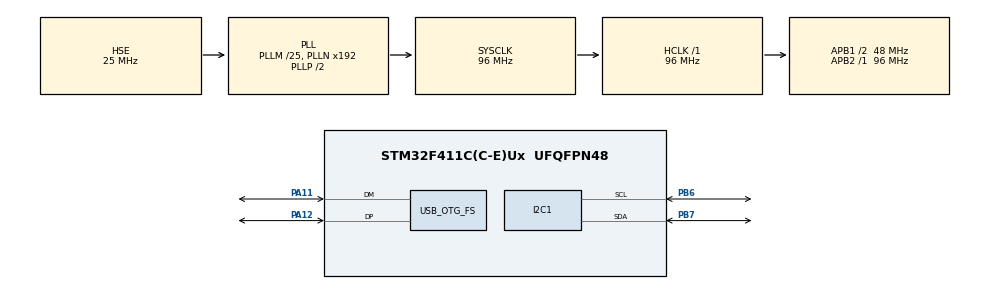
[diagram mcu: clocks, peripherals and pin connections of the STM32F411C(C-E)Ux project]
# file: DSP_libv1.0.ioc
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Mcu.Family=STM32F4
Mcu.Name=STM32F411C(C-E)Ux
Mcu.Package=UFQFPN48
NVIC.I2C1_ER_IRQn=true\:0\:0\:false\:false\:true\:true\:true\:true
NVIC.I2C1_EV_IRQn=true\:0\:0\:false\:false\:true\:true\:true\:true
NVIC.OTG_FS_IRQn=true\:0\:0\:false\:false\:true\:false\:true\:true
NVIC.PriorityGroup=NVIC_PRIORITYGROUP_4
PA11.Mode=Device_Only
PA11.Signal=USB_OTG_FS_DM
PA12.Mode=Device_Only
PA12.Signal=USB_OTG_FS_DP
PB6.Mode=I2C
PB6.Signal=I2C1_SCL
PB7.Mode=I2C
PB7.Signal=I2C1_SDA
PH0\ -\ OSC_IN.Mode=HSE-External-Oscillator
PH0\ -\ OSC_IN.Signal=RCC_OSC_IN
PH1\ -\ OSC_OUT.Mode=HSE-External-Oscillator
PH1\ -\ OSC_OUT.Signal=RCC_OSC_OUT
ProjectManager.HeapSize=0x200
ProjectManager.StackSize=0x400
ProjectManager.TargetToolchain=STM32CubeIDE
RCC.48MHZClocksFreq_Value=48000000
RCC.AHBFreq_Value=96000000
RCC.APB1CLKDivider=RCC_HCLK_DIV2
RCC.APB1Freq_Value=48000000
RCC.APB1TimFreq_Value=96000000
RCC.APB2Freq_Value=96000000
RCC.APB2TimFreq_Value=96000000
RCC.CortexFreq_Value=96000000
RCC.HCLKFreq_Value=96000000
RCC.HSE_VALUE=25000000
RCC.HSI_VALUE=16000000
RCC.LSE_VALUE=32768
RCC.PLLM=25
RCC.SYSCLKFreq_VALUE=96000000
RCC.SYSCLKSource=RCC_SYSCLKSOURCE_PLLCLK
RCC.VCOOutputFreq_Value=192000000
STMicroelectronics.X-CUBE-ALGOBUILD.1.3.0.LibraryCcDSPOoLibraryJjDSPOoLibrary=true
USB_DEVICE.CLASS_NAME_FS=CDC
USB_DEVICE.VirtualMode=Cdc
USB_DEVICE.VirtualModeFS=Cdc_FS
USB_OTG_FS.VirtualMode=Device_Only
VP_STMicroelectronics.X-CUBE-ALGOBUILD_VS_DSPOoLibraryJjLibrary_1.3.0_1.3.0.Mode=DSPOoLibraryJjLibrary
VP_USB_DEVICE_VS_USB_DEVICE_CDC_FS.Mode=CDC_FS
board=custom

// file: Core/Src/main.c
/* USER CODE BEGIN Header */
/**
  ******************************************************************************
  * @file           : main.c
  * @brief          : Main program body
  ******************************************************************************
  * @attention
  *
  * Copyright (c) 2023 STMicroelectronics.
  * All rights reserved.
  *
  * This software is licensed under terms that can be found in the LICENSE file
  * in the root directory of this software component.
  * If no LICENSE file comes with this software, it is provided AS-IS.
  *
  ******************************************************************************
  */
/* USER CODE END Header */
#include "main.h"
#include "usb_device.h"

/* USER CODE BEGIN Includes */
#include "usbd_cdc_if.h"
/* USER CODE END Includes */

I2C_HandleTypeDef hi2c1;

void SystemClock_Config(void);
static void MX_GPIO_Init(void);
static void MX_I2C1_Init(void);

/* USER CODE BEGIN 0 */
QMC5883L dev;
uint32_t time1 = 0;
uint32_t time2 = 0;
uint32_t interval =9;
M_Filt_t  filt_m;
Statistic st,st1;
Kalman kalman;
int16_t input =1;
char sendbuf[50];
unsigned int nump =10;
float32_t alpha=0.88;
float out;
/* USER CODE END 0 */

int main(void)
{

  /* MCU Configuration--------------------------------------------------------*/

  /* Reset of all peripherals, Initializes the Flash interface and the Systick. */
  HAL_Init();

  /* Configure the system clock */
  SystemClock_Config();

  /* Initialize all configured peripherals */
  MX_GPIO_Init();
  MX_I2C1_Init();
  MX_USB_DEVICE_Init();
  /* USER CODE BEGIN 2 */
  FPU_enable();
  calibrating_init(&dev,1012,-1538,1383,-1133,1342,-1037);
  Init_QMCL5883(&hi2c1, &dev, Continuous, ODR_200Hz, SCALE_2G, OSR_64);
  DSP_Filter_init(&filt_m);
 // DSPkalman_init(&kalman,(float32_t)0.001f,(float32_t)0.0090f);
 // DSPkalman_initTrust(&kalman, trust_measurmentslevel_low);

  /* USER CODE END 2 */

  /* Infinite loop */
  while (1)
  {

    /* USER CODE BEGIN 3 */
	/* if(HAL_GetTick() - time1 >= interval ){
	       QMC5883L_Start(&dev);

	      moving_med(&filt_m, dev.heading, nump);
	      moving_av(&filt_m, (float32_t)dev.heading, nump);
	      DSPexp_moving_avg(&filt_m, (float32_t)dev.heading, alpha);
	       statistic(&st, dev.QMCL_Axis_Raw[1]);

	      sprintf(sendbuf,"Filtval:%d,Rawval:%f\n",st.mean,st.variance);
	       CDC_Transmit_FS((uint8_t*)sendbuf, 50);

	       time1 = HAL_GetTick();
	  	  }*/
	  if(HAL_GetTick() - time1 >= interval ){
		     QMC5883L_Start(&dev);
	        //DSP_firfloat(&filt_m,dev.heading);
	        DSP_fir16(&filt_m, dev.QMCL_Axis_Raw[1]);
	        DSPstatistic_32(&st,filt_m.output_32,0.05);
	        DSPstatistic_16(&st1, dev.QMCL_Axis_Raw[1],0.05);
		     //DSPkalman(&kalman, dev.heading);
		     //DSP_fastfir16(&filt_m, dev.QMCL_Axis_Raw[1]);
		     sprintf(sendbuf,"FIR_std:%f,Rawval_std:%f\n",st.std ,st1.std);
		     CDC_Transmit_FS((uint8_t*)sendbuf, 50);
		     time1 = HAL_GetTick();
		  }
  }
  /* USER CODE END 3 */
}

void SystemClock_Config(void)
{
  RCC_OscInitTypeDef RCC_OscInitStruct = {0};
  RCC_ClkInitTypeDef RCC_ClkInitStruct = {0};

  /** Configure the main internal regulator output voltage
  */
  __HAL_RCC_PWR_CLK_ENABLE();
  __HAL_PWR_VOLTAGESCALING_CONFIG(PWR_REGULATOR_VOLTAGE_SCALE1);

  /** Initializes the RCC Oscillators according to the specified parameters
  * in the RCC_OscInitTypeDef structure.
  */
  RCC_OscInitStruct.OscillatorType = RCC_OSCILLATORTYPE_HSE;
  RCC_OscInitStruct.HSEState = RCC_HSE_ON;
  RCC_OscInitStruct.PLL.PLLState = RCC_PLL_ON;
  RCC_OscInitStruct.PLL.PLLSource = RCC_PLLSOURCE_HSE;
  RCC_OscInitStruct.PLL.PLLM = 25;
  RCC_OscInitStruct.PLL.PLLN = 192;
  RCC_OscInitStruct.PLL.PLLP = RCC_PLLP_DIV2;
  RCC_OscInitStruct.PLL.PLLQ = 4;
  if (HAL_RCC_OscConfig(&RCC_OscInitStruct) != HAL_OK)
  {
    Error_Handler();
  }

  /** Initializes the CPU, AHB and APB buses clocks
  */
  RCC_ClkInitStruct.ClockType = RCC_CLOCKTYPE_HCLK|RCC_CLOCKTYPE_SYSCLK
                              |RCC_CLOCKTYPE_PCLK1|RCC_CLOCKTYPE_PCLK2;
  RCC_ClkInitStruct.SYSCLKSource = RCC_SYSCLKSOURCE_PLLCLK;
  RCC_ClkInitStruct.AHBCLKDivider = RCC_SYSCLK_DIV1;
  RCC_ClkInitStruct.APB1CLKDivider = RCC_HCLK_DIV2;
  RCC_ClkInitStruct.APB2CLKDivider = RCC_HCLK_DIV1;

  if (HAL_RCC_ClockConfig(&RCC_ClkInitStruct, FLASH_LATENCY_3) != HAL_OK)
  {
    Error_Handler();
  }
}

static void MX_I2C1_Init(void)
{

  hi2c1.Instance = I2C1;
  hi2c1.Init.ClockSpeed = 100000;
  hi2c1.Init.DutyCycle = I2C_DUTYCYCLE_2;
  hi2c1.Init.OwnAddress1 = 0;
  hi2c1.Init.AddressingMode = I2C_ADDRESSINGMODE_7BIT;
  hi2c1.Init.DualAddressMode = I2C_DUALADDRESS_DISABLE;
  hi2c1.Init.OwnAddress2 = 0;
  hi2c1.Init.GeneralCallMode = I2C_GENERALCALL_DISABLE;
  hi2c1.Init.NoStretchMode = I2C_NOSTRETCH_DISABLE;
  if (HAL_I2C_Init(&hi2c1) != HAL_OK)
  {
    Error_Handler();
  }

}

static void MX_GPIO_Init(void)
{

  /* GPIO Ports Clock Enable */
  __HAL_RCC_GPIOH_CLK_ENABLE();
  __HAL_RCC_GPIOA_CLK_ENABLE();
  __HAL_RCC_GPIOB_CLK_ENABLE();

}

void Error_Handler(void)
{
  __disable_irq();
  while (1)
  {
  }
}
